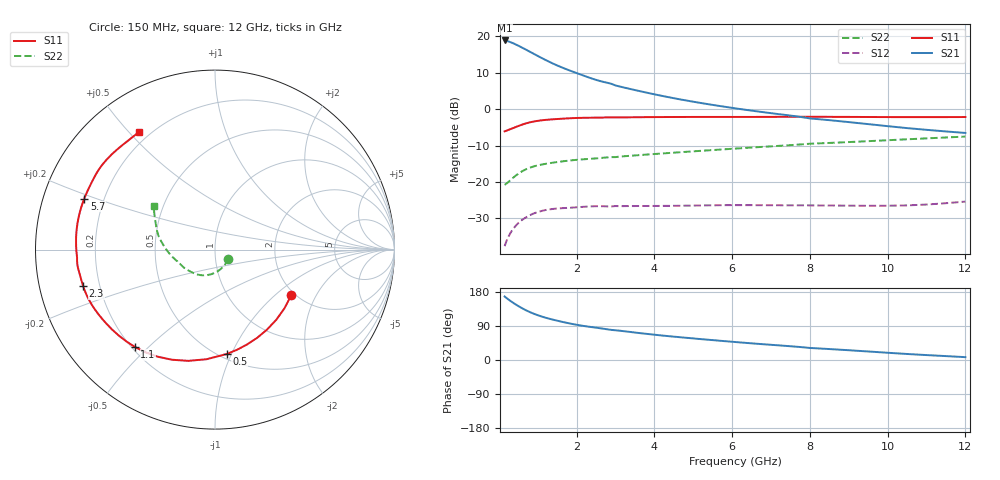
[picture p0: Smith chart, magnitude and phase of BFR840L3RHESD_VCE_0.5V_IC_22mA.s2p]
! Infineon Technologies  Discrete & RF Semiconductors
! BFR840L3RHESD
! VCE =  0.5 V,  IC =  22 mA
! Common Emitter S-Parameters:  Jun 2012
# GHz  S  MA  R  50
!  f  S11  S21  S12  S22
! GHz  MAG  ANG  MAG  ANG  MAG  ANG  MAG  ANG
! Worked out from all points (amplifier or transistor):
!   91 points, 150 MHz to 12 GHz, reference 50 ohm
!   highest |S21| = 18.9 dB at 150 MHz (marker M1)
!   |S21| within 3 dB of that: start of sweep to 782 MHz
!   unconditionally stable (mu >= 1): start of sweep to end of sweep
!   at 1.3 GHz: K = 1.25, MAG = 17.2 dB, |S12| = -27.6 dB
!   at 4.3 GHz: K = 2.65, MAG = 7.9 dB, |S12| = -26.6 dB
!   at 12 GHz: K = 6.59, MAG = -1.7 dB, |S12| = -25.4 dB
!   S11 on the Smith chart (normalised r, x): 150 MHz: 1.91, -1.28; 500 MHz: 0.54, -0.96; 1.1 GHz: 0.21, -0.45; 2.3 GHz: 0.14, -0.13; 5.7 GHz: 0.13, +0.19; 12 GHz: 0.16, +0.53
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0.15  0.4949 -30.8  8.789 167.6  0.0131 33.8  0.0909 -35.0
0.25  0.519 -48.8  8.514 159.6  0.0177 40.3  0.1002 -55.7
0.3  0.5315 -56.9  8.33 155.9  0.0199 41.8  0.1058 -64.4
0.4  0.5579 -71.3  7.909 148.9  0.0237 42.8  0.1177 -78.9
0.5  0.5855 -83.7  7.458 142.5  0.0271 42.1  0.1294 -90.4
0.6  0.6126 -94.4  7.005 136.6  0.0301 40.4  0.1401 -99.8
0.7  0.6375 -103.5  6.566 131.2  0.0326 38.2  0.1493 -107.5
0.8  0.659 -111.4  6.149 126.4  0.0349 35.7  0.157 -114.0
0.9  0.6768 -118.2  5.758 122.1  0.0369 33.2  0.1634 -119.5
1.1  0.7023 -129.5  5.056 114.8  0.0399 28.8  0.1732 -128.7
1.3  0.719 -138.3  4.469 108.9  0.0419 25.4  0.1807 -135.7
1.6  0.7377 -148.5  3.787 101.4  0.0435 22.1  0.1906 -143.5
1.9  0.7526 -156.2  3.281 94.9  0.0444 20.0  0.1988 -149.1
2.2  0.7609 -162.6  2.867 89.6  0.0456 17.9  0.205 -153.8
2.3  0.7623 -164.5  2.743 88.1  0.0459 17.2  0.2068 -155.2
3  0.7709 -175.4  2.118 78.4  0.0466 15.6  0.2193 -162.6
4.2  0.7789 171.4  1.521 64.6  0.0469 13.9  0.246 -172.1
5.7  0.7817 158.7  1.101 50.7  0.0479 13.9  0.2785 177.8
6.1  0.7816 155.7  1.023 47.3  0.048 13.9  0.2874 175.3
8.5  0.7845 140.0  0.706 28.9  0.0474 15.0  0.3433 160.9
10.5  0.7768 129.5  0.549 15.9  0.0476 21.1  0.3853 150.8
12  0.7795 123.1  0.471 7.5  0.0537 25.8  0.42 144.3
